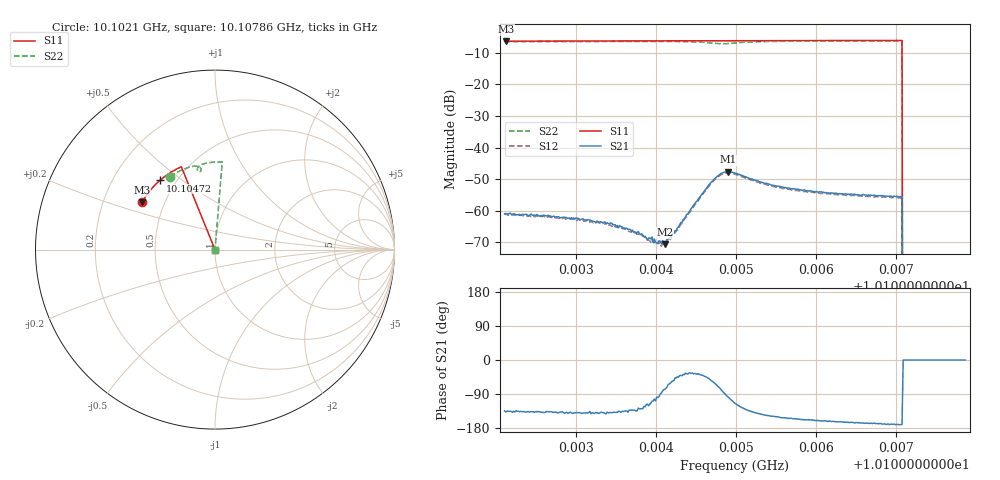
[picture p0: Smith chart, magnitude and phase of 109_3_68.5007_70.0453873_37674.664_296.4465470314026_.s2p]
#  HZ  S  RI  R  50.00
! Rohde & Schwarz Vector Network Analyzer
! Rohde-Schwarz,ZNB20-2Port,1311601062101988,3.16
! Created: UTC 3/20/2024, 5:08:38 PM
! freq[Hz]  re:S11  im:S11  re:S21  im:S21  re:S12  im:S12  re:S22  im:S22
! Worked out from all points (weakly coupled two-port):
!   401 points, 10.1021 GHz to 10.10786 GHz, reference 50 ohm
!   highest |S21| = -47.69 dB at 10.1049 GHz (marker M1); lowest = -70.7 dB at 10.1041 GHz (marker M2)
!   lowest |S11| = -6.3 dB at 10.10212 GHz (marker M3), VSWR 2.88, Z = 18.7 + j12.9 ohm
!   |S11| at or under -10 dB: 10.10707 GHz to end of sweep
!   |S22| runs from - to -6.2 dB; largest |S21 - S12| = 0.00042
!   S11 on the Smith chart (normalised r, x): 10.1021 GHz: 0.37, +0.26; 10.10472 GHz: 0.41, +0.42; 10.10786 GHz: 1.00, +0.00
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1.0102102e10  -0.4076 0.2632  -0.000625 -0.000634  -0.000546 -0.000664  -0.2504 0.4065
1.0102117e10  -0.4071 0.2639  -0.000659 -0.000611  -0.000576 -0.000682  -0.2497 0.4072
1.0102621e10  -0.391 0.29  -0.000596 -0.000566  -0.000557 -0.000579  -0.2217 0.4245
1.0103067e10  -0.3752 0.3122  -0.000566 -0.000461  -0.000494 -0.0005  -0.1955 0.4385
1.0103456e10  -0.3606 0.3306  -0.000447 -0.000399  -0.000404 -0.000424  -0.1716 0.4493
1.0103831e10  -0.3456 0.3478  -0.000253 -0.00032  -0.000191 -0.000341  -0.1468 0.4582
1.0103903e10  -0.3426 0.351  -0.000188 -0.000316  -0.000142 -0.000308  -0.1417 0.4597
1.0104033e10  -0.3373 0.3569  -3.83e-05 -0.00033  -8.73e-06 -0.0003  -0.1322 0.4622
1.0104105e10  -0.3342 0.3597  6.15e-05 -0.000284  9.03e-05 -0.000314  -0.1268 0.4634
1.0104148e10  -0.3324 0.3617  0.00015 -0.000321  0.000179 -0.000285  -0.1235 0.464
1.0104249e10  -0.328 0.366  0.000324 -0.000349  0.000349 -0.000336  -0.1152 0.465
1.0104566e10  -0.3139 0.3792  0.00138 -0.00114  0.00139 -0.001  -0.0856 0.4592
1.0104724e10  -0.3066 0.3855  0.00156 -0.00275  0.00175 -0.00251  -0.0771 0.4432
1.010481e10  -0.3028 0.3887  0.000752 -0.00382  0.00106 -0.00356  -0.0828 0.4345
1.0104897e10  -0.2988 0.3919  -0.000536 -0.00409  -0.000183 -0.00393  -0.093 0.435
1.0104983e10  -0.2948 0.3953  -0.00163 -0.00359  -0.00121 -0.00357  -0.0984 0.4438
1.0105502e10  -0.2699 0.4145  -0.0021 -0.00124  -0.0019 -0.00135  -0.0666 0.4766
1.0105948e10  -0.2474 0.4297  -0.00187 -0.000761  -0.00173 -0.000864  -0.0347 0.4843
1.0106914e10  -0.1961 0.4576  -0.00166 -0.000278  -0.00157 -0.000446  0.03 0.4885
1.0107043e10  -0.1891 0.461  -0.00162 -0.000268  -0.00155 -0.000408  0.0384 0.4882
1.0107115e10  0 0  0 0  0 0  0 0
1.0107864e10  0 0  0 0  0 0  0 0
